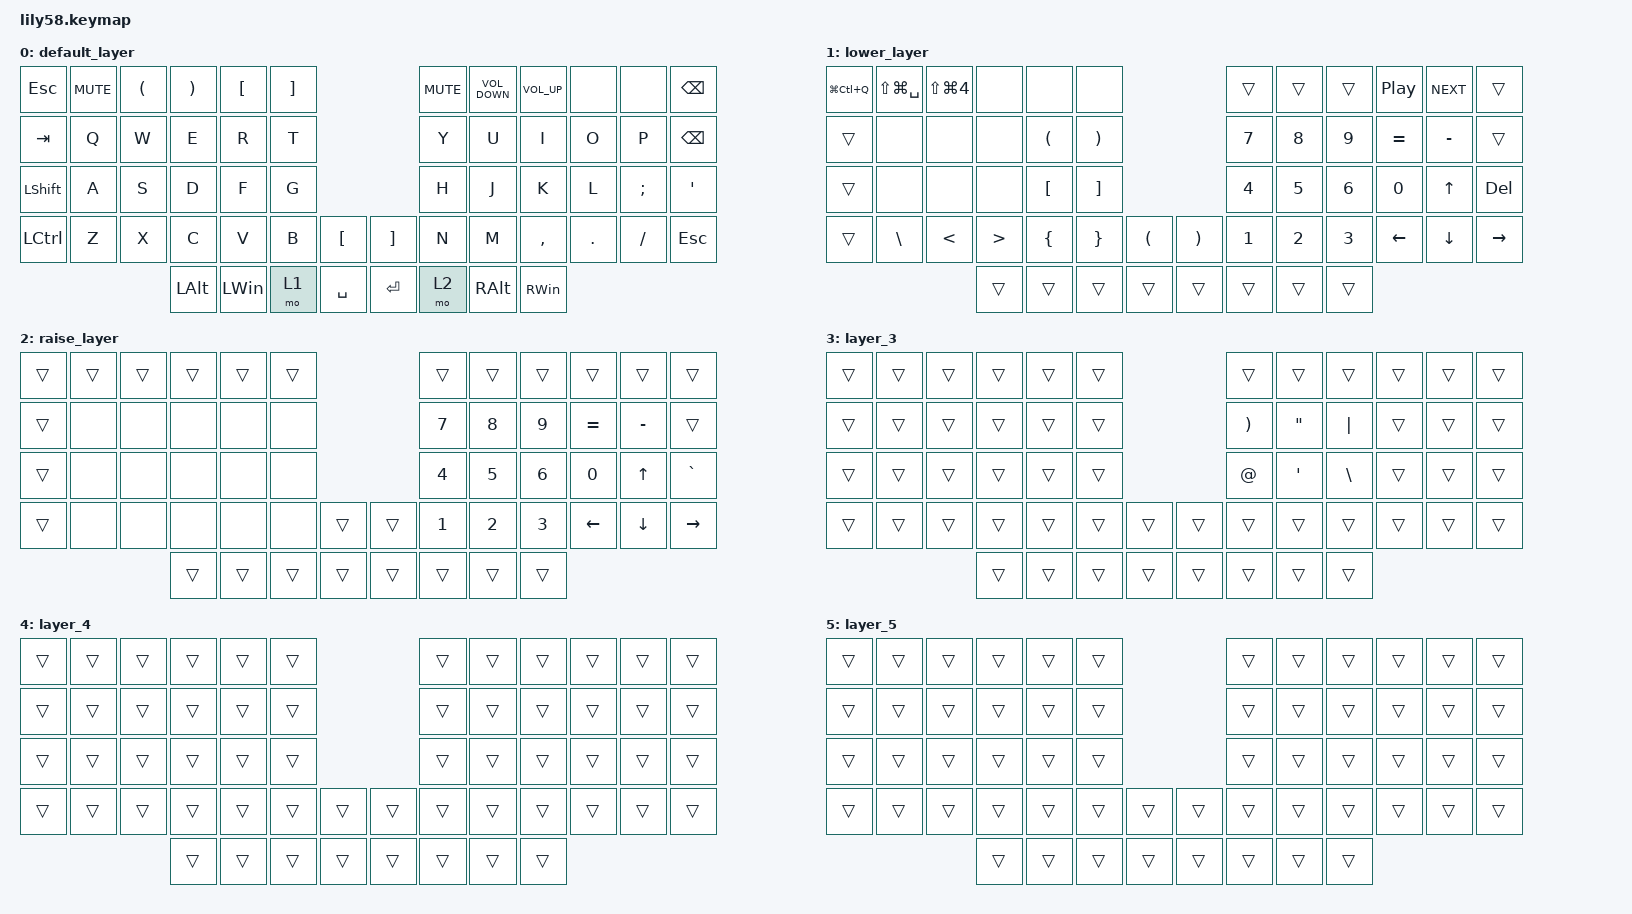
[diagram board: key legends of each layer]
/*
 * Copyright (c) 2020 The ZMK Contributors
 *
 * SPDX-License-Identifier: MIT
 */

#include <behaviors.dtsi>
#include <dt-bindings/zmk/keys.h>

/ {
    keymap {
        compatible = "zmk,keymap";

        default_layer {
            // ------------------------------------------------------------------------------------------------------------
            // |  ESC  |  1  |  2  |  3   |  4   |  5   |                   |  6   |  7    |  8    |  9   |   0   |   `   |
            // |  TAB  |  Q  |  W  |  E   |  R   |  T   |                   |  Y   |  U    |  I    |  O   |   P   |   -   |
            // |  CTRL |  A  |  S  |  D   |  F   |  G   |                   |  H   |  J    |  K    |  L   |   ;   |   '   |
            // | SHIFT |  Z  |  X  |  C   |  V   |  B   |   "["  |  |  "]"  |  N   |  M    |  ,    |  .   |   /   | SHIFT |
            //                     | ALT  | GUI  | LOWER|  SPACE |  | ENTER | RAISE| BSPC  | GUI   |

            bindings = <
&kp ESCAPE  &kp K_MUTE  &kp LEFT_PARENTHESIS  &kp RIGHT_PARENTHESIS  &kp LEFT_BRACKET  &kp RIGHT_BRACKET                                         &kp K_MUTE  &kp C_VOLUME_DOWN  &kp C_VOLUME_UP  &none    &none     &kp BACKSPACE
&kp TAB     &kp Q       &kp W                 &kp E                  &kp R             &kp T                                                     &kp Y       &kp U              &kp I            &kp O    &kp P     &kp BACKSPACE
&kp LSHFT   &kp A       &kp S                 &kp D                  &kp F             &kp G                                                     &kp H       &kp J              &kp K            &kp L    &kp SEMI  &kp SQT
&kp LCTRL   &kp Z       &kp X                 &kp C                  &kp V             &kp B              &kp LEFT_BRACKET    &kp RIGHT_BRACKET  &kp N       &kp M              &kp COMMA        &kp DOT  &kp FSLH  &kp ESC
                                              &kp LEFT_ALT           &kp LEFT_WIN      &mo 1              &kp SPACE           &kp RET            &mo 2       &kp RIGHT_ALT      &kp RIGHT_WIN
            >;
        };

        lower_layer {
            // ------------------------------------------------------------------------------------------------------------
            // | BTCLR | BT1 | BT2 |  BT3 |  BT4 |  BT5 |                   |      |       |       |      |       |       |
            // |  F1   |  F2 |  F3 |  F4  |  F5  |  F6  |                   |  F7  |  F8   |  F9   |  F10 |  F11  |  F12  |
            // |   `   |  !  |  @  |  #   |  $   |  %   |                   |  ^   |  &    |  *    |  (   |   )   |   ~   |
            // |       |     |     |      |      |      |        |  |       |      |  _    |  +    |  {   |   }   |  "|"  |
            //                     |      |      |      |        |  |       |      |       |       |

            bindings = <
&kp LG(LC(Q))  &kp LS(LG(SPACE))  &kp LS(LG(NUMBER_4))  &none             &none                 &none                                                                 &trans        &trans  &trans        &kp C_PLAY_PAUSE  &kp C_NEXT    &trans
&trans         &none              &none                 &none             &kp LEFT_PARENTHESIS  &kp RIGHT_PARENTHESIS                                                 &kp NUMBER_7  &kp N8  &kp N9        &kp EQUAL         &kp MINUS     &trans
&trans         &none              &none                 &none             &kp LEFT_BRACKET      &kp RIGHT_BRACKET                                                     &kp NUMBER_4  &kp N5  &kp NUMBER_6  &kp N0            &kp UP_ARROW  &kp DEL
&trans         &kp BACKSLASH      &kp LESS_THAN         &kp GREATER_THAN  &kp LEFT_BRACE        &kp RIGHT_BRACE        &kp LEFT_PARENTHESIS    &kp RIGHT_PARENTHESIS  &kp N1        &kp N2  &kp N3        &kp LEFT          &kp DOWN      &kp RIGHT
                                                        &trans            &trans                &trans                 &trans                  &trans                 &trans        &trans  &trans
            >;
        };

        raise_layer {
            // ------------------------------------------------------------------------------------------------------------
            // |       |     |     |      |      |      |                   |      |       |       |      |       |       |
            // |   `   |  1  |  2  |  3   |  4   |  5   |                   |  6   |   7   |   8   |  9   |   0   |       |
            // |   F1  |  F2 |  F3 |  F4  |  F5  |  F6  |                   |      |   <-  |   v   |  ^   |  ->   |       |
            // |   F7  |  F8 |  F9 |  F10 |  F11 |  F12 |        |  |       |  +   |   -   |   =   |  [   |   ]   |   \   |
            //                     |      |      |      |        |  |       |      |       |       |

            bindings = <
&trans  &trans  &trans  &trans  &trans  &trans                    &trans        &trans        &trans        &trans        &trans        &trans
&trans  &none   &none   &none   &none   &none                     &kp NUMBER_7  &kp NUMBER_8  &kp NUMBER_9  &kp EQUAL     &kp MINUS     &trans
&trans  &none   &none   &none   &none   &none                     &kp NUMBER_4  &kp NUMBER_5  &kp NUMBER_6  &kp NUMBER_0  &kp UP_ARROW  &kp GRAVE
&trans  &none   &none   &none   &none   &none   &trans    &trans  &kp NUMBER_1  &kp NUMBER_2  &kp NUMBER_3  &kp LEFT      &kp DOWN      &kp RIGHT
                        &trans  &trans  &trans  &trans    &trans  &trans        &trans        &trans
            >;
        };

        layer_3 {
            bindings = <
&trans  &trans  &trans  &trans  &trans  &trans                    &trans                 &trans             &trans    &trans  &trans  &trans
&trans  &trans  &trans  &trans  &trans  &trans                    &kp RIGHT_PARENTHESIS  &kp DOUBLE_QUOTES  &kp PIPE  &trans  &trans  &trans
&trans  &trans  &trans  &trans  &trans  &trans                    &kp AT                 &kp SINGLE_QUOTE   &kp BSLH  &trans  &trans  &trans
&trans  &trans  &trans  &trans  &trans  &trans  &trans    &trans  &trans                 &trans             &trans    &trans  &trans  &trans
                        &trans  &trans  &trans  &trans    &trans  &trans                 &trans             &trans
            >;
        };

        layer_4 {
            bindings = <
&trans  &trans  &trans  &trans  &trans  &trans                    &trans  &trans  &trans  &trans  &trans  &trans
&trans  &trans  &trans  &trans  &trans  &trans                    &trans  &trans  &trans  &trans  &trans  &trans
&trans  &trans  &trans  &trans  &trans  &trans                    &trans  &trans  &trans  &trans  &trans  &trans
&trans  &trans  &trans  &trans  &trans  &trans  &trans    &trans  &trans  &trans  &trans  &trans  &trans  &trans
                        &trans  &trans  &trans  &trans    &trans  &trans  &trans  &trans
            >;
        };

        layer_5 {
            bindings = <
&trans  &trans  &trans  &trans  &trans  &trans                    &trans  &trans  &trans  &trans  &trans  &trans
&trans  &trans  &trans  &trans  &trans  &trans                    &trans  &trans  &trans  &trans  &trans  &trans
&trans  &trans  &trans  &trans  &trans  &trans                    &trans  &trans  &trans  &trans  &trans  &trans
&trans  &trans  &trans  &trans  &trans  &trans  &trans    &trans  &trans  &trans  &trans  &trans  &trans  &trans
                        &trans  &trans  &trans  &trans    &trans  &trans  &trans  &trans
            >;
        };
    };

    conditional_layers {
        compatible = "zmk,conditional-layers";

        layer-4 {
            if-layers = <1 2>;
            then-layer = <3>;
        };
    };
};
